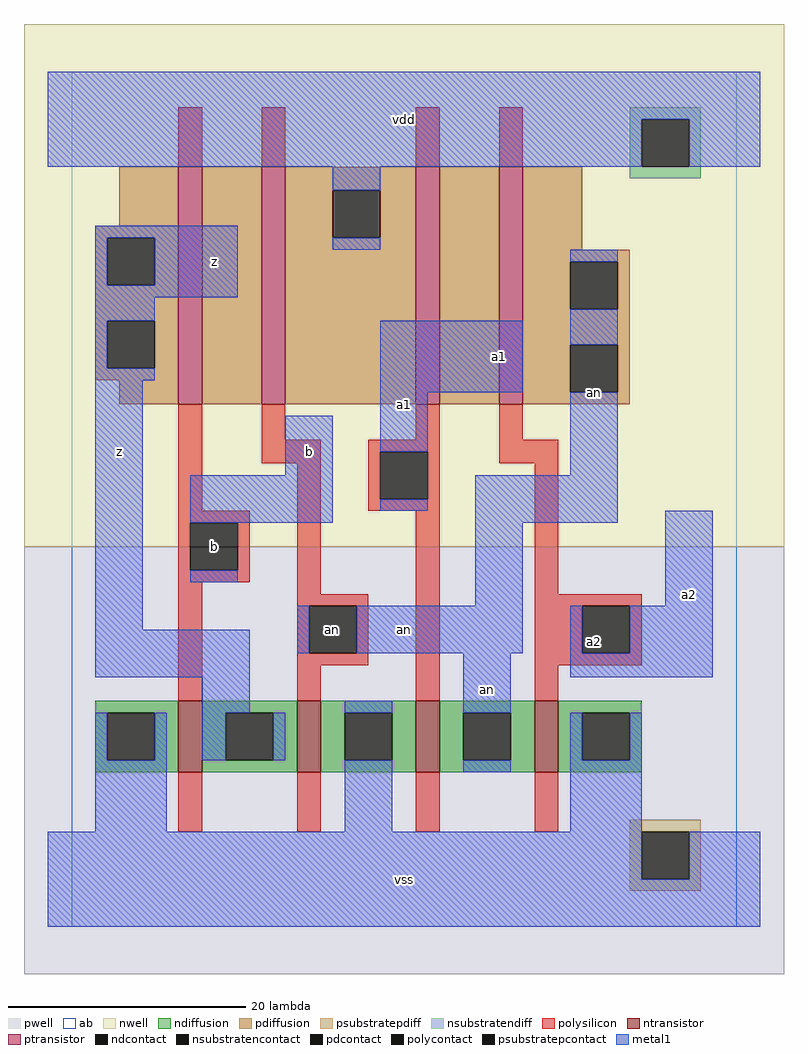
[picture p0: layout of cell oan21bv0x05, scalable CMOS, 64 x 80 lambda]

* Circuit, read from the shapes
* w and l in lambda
.subckt oan21bv0x05 a1 a2 an b vdd vss z
M1 z b vss vss nfet w=6 l=2
M2 vss an z vss nfet w=6 l=2
M3 an a1 vss vss nfet w=6 l=2
M4 vss a2 an vss nfet w=6 l=2
M5 n1 b z vdd pfet w=20 l=2
M6 vdd an n1 vdd pfet w=20 l=2
M7 n2 a1 vdd vdd pfet w=20 l=2
M8 an a2 n2 vdd pfet w=20 l=2
.ends

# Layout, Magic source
magic
tech scmos
<< ab >>
rect 0 0 56 72
<< pwell >>
rect -4 -4 60 32
<< nwell >>
rect -4 32 60 76
<< polysilicon >>
rect 9 64 11 69
rect 16 64 18 69
rect 29 64 31 69
rect 36 64 38 69
rect 9 35 11 44
rect 16 41 18 44
rect 29 41 31 44
rect 16 39 21 41
rect 9 34 15 35
rect 9 30 10 34
rect 14 30 15 34
rect 9 29 15 30
rect 9 19 11 29
rect 19 28 21 39
rect 25 40 31 41
rect 25 36 26 40
rect 30 36 31 40
rect 36 41 38 44
rect 36 39 41 41
rect 25 35 31 36
rect 19 27 25 28
rect 19 23 20 27
rect 24 23 25 27
rect 19 22 25 23
rect 19 19 21 22
rect 29 19 31 35
rect 39 28 41 39
rect 39 27 48 28
rect 39 23 43 27
rect 47 23 48 27
rect 39 22 48 23
rect 39 19 41 22
rect 9 8 11 13
rect 19 8 21 13
rect 29 8 31 13
rect 39 8 41 13
<< ndiffusion >>
rect 2 18 9 19
rect 2 14 3 18
rect 7 14 9 18
rect 2 13 9 14
rect 11 18 19 19
rect 11 14 13 18
rect 17 14 19 18
rect 11 13 19 14
rect 21 18 29 19
rect 21 14 23 18
rect 27 14 29 18
rect 21 13 29 14
rect 31 18 39 19
rect 31 14 33 18
rect 37 14 39 18
rect 31 13 39 14
rect 41 18 48 19
rect 41 14 43 18
rect 47 14 48 18
rect 41 13 48 14
<< pdiffusion >>
rect 4 59 9 64
rect 2 58 9 59
rect 2 54 3 58
rect 7 54 9 58
rect 2 51 9 54
rect 2 47 3 51
rect 7 47 9 51
rect 2 46 9 47
rect 4 44 9 46
rect 11 44 16 64
rect 18 62 29 64
rect 18 58 22 62
rect 26 58 29 62
rect 18 44 29 58
rect 31 44 36 64
rect 38 57 43 64
rect 38 56 47 57
rect 38 52 42 56
rect 46 52 47 56
rect 38 49 47 52
rect 38 45 42 49
rect 46 45 47 49
rect 38 44 47 45
<< metal1 >>
rect -2 68 58 72
rect -2 64 48 68
rect 52 64 58 68
rect 22 62 26 64
rect 2 58 14 59
rect 2 54 3 58
rect 7 54 14 58
rect 22 57 26 58
rect 2 53 14 54
rect 42 56 46 57
rect 2 51 7 53
rect 2 47 3 51
rect 2 46 7 47
rect 2 25 6 46
rect 26 45 38 51
rect 42 49 46 52
rect 18 38 22 43
rect 10 34 22 38
rect 26 40 30 45
rect 42 38 46 45
rect 26 35 30 36
rect 34 34 46 38
rect 10 29 14 30
rect 34 27 38 34
rect 50 27 54 35
rect 2 21 15 25
rect 19 23 20 27
rect 24 23 38 27
rect 42 23 43 27
rect 47 23 54 27
rect 11 18 15 21
rect 23 18 27 19
rect 2 14 3 18
rect 7 14 8 18
rect 11 14 13 18
rect 17 14 18 18
rect 2 8 8 14
rect 23 8 27 14
rect 33 18 37 23
rect 42 21 54 23
rect 33 13 37 14
rect 42 14 43 18
rect 47 14 48 18
rect 42 8 48 14
rect -2 4 48 8
rect 52 4 58 8
rect -2 0 58 4
<< ntransistor >>
rect 9 13 11 19
rect 19 13 21 19
rect 29 13 31 19
rect 39 13 41 19
<< ptransistor >>
rect 9 44 11 64
rect 16 44 18 64
rect 29 44 31 64
rect 36 44 38 64
<< polycontact >>
rect 10 30 14 34
rect 26 36 30 40
rect 20 23 24 27
rect 43 23 47 27
<< ndcontact >>
rect 3 14 7 18
rect 13 14 17 18
rect 23 14 27 18
rect 33 14 37 18
rect 43 14 47 18
<< pdcontact >>
rect 3 54 7 58
rect 3 47 7 51
rect 22 58 26 62
rect 42 52 46 56
rect 42 45 46 49
<< psubstratepcontact >>
rect 48 4 52 8
<< nsubstratencontact >>
rect 48 64 52 68
<< psubstratepdiff >>
rect 47 8 53 9
rect 47 4 48 8
rect 52 4 53 8
rect 47 3 53 4
<< nsubstratendiff >>
rect 47 68 53 69
rect 47 64 48 68
rect 52 64 53 68
rect 47 63 53 64
<< labels >>
rlabel polycontact 22 25 22 25 6 an
rlabel metal1 4 40 4 40 6 z
rlabel polycontact 12 32 12 32 6 b
rlabel metal1 20 40 20 40 6 b
rlabel metal1 12 56 12 56 6 z
rlabel metal1 28 4 28 4 6 vss
rlabel metal1 35 20 35 20 6 an
rlabel metal1 28 25 28 25 6 an
rlabel metal1 28 44 28 44 6 a1
rlabel metal1 36 48 36 48 6 a1
rlabel metal1 28 68 28 68 6 vdd
rlabel polycontact 44 24 44 24 6 a2
rlabel metal1 52 28 52 28 6 a2
rlabel metal1 44 45 44 45 6 an
<< end >>
